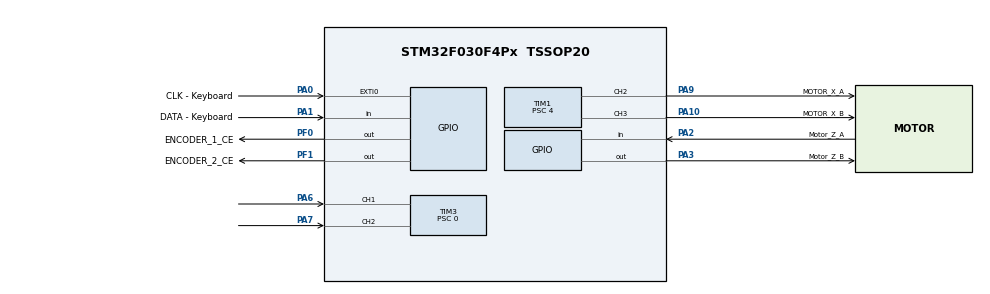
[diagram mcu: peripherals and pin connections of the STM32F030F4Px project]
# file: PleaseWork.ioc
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Mcu.Family=STM32F0
Mcu.Name=STM32F030F4Px
Mcu.Package=TSSOP20
NVIC.EXTI0_1_IRQn=true\:0\:0\:false\:false\:true\:true
PA0.GPIO_Label=CLK - Keyboard
PA0.Signal=GPXTI0
PA1.GPIO_Label=DATA - Keyboard
PA1.Signal=GPIO_Input
PA10.GPIO_Label=MOTOR_X_B
PA10.Signal=S_TIM1_CH3
PA13.Mode=Serial_Wire
PA13.Signal=SYS_SWDIO
PA14.Mode=Serial_Wire
PA14.Signal=SYS_SWCLK
PA2.GPIO_Label=Motor_Z_A
PA2.Signal=GPIO_Input
PA3.GPIO_Label=Motor_Z_B
PA3.Signal=GPIO_Output
PA6.Signal=S_TIM3_CH1
PA7.Signal=S_TIM3_CH2
PA9.GPIO_Label=MOTOR_X_A
PA9.Signal=S_TIM1_CH2
PF0-OSC_IN.GPIO_Label=ENCODER_1_CE
PF0-OSC_IN.Signal=GPIO_Output
PF1-OSC_OUT.GPIO_Label=ENCODER_2_CE
PF1-OSC_OUT.Signal=GPIO_Output
ProjectManager.HeapSize=0x200
ProjectManager.StackSize=0x400
ProjectManager.TargetToolchain=TrueSTUDIO
SH.S_TIM1_CH2.0=TIM1_CH2,PWM Generation2 CH2
SH.S_TIM1_CH3.0=TIM1_CH3,PWM Generation3 CH3
SH.S_TIM3_CH1.0=TIM3_CH1,Encoder_Interface
SH.S_TIM3_CH2.0=TIM3_CH2,Encoder_Interface
TIM1.Channel-PWM\ Generation2\ CH2=TIM_CHANNEL_2
TIM1.Channel-PWM\ Generation3\ CH3=TIM_CHANNEL_3
TIM1.Period=255
TIM1.Prescaler=4
TIM14.Period=255
TIM14.Prescaler=4
TIM3.EncoderMode=TIM_ENCODERMODE_TI2
TIM3.IC1Filter=10
TIM3.IC1Polarity=TIM_ICPOLARITY_FALLING
TIM3.IC2Filter=10
TIM3.IC2Polarity=TIM_ICPOLARITY_FALLING
TIM3.Period=65535
TIM3.Prescaler=0
VP_TIM14_VS_ClockSourceINT.Mode=Enable_Timer
board=custom

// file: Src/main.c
/**
 ******************************************************************************
 * @file           : main.c
 * @brief          : Main program body
 ******************************************************************************
 ** This notice applies to any and all portions of this file
 * that are not between comment pairs USER CODE BEGIN and
 * USER CODE END. Other portions of this file, whether
 * inserted by the user or by software development tools
 * are owned by their respective copyright owners.
 *
 * COPYRIGHT(c) 2018 STMicroelectronics
 *
 * Redistribution and use in source and binary forms, with or without modification,
 * are permitted provided that the following conditions are met:
 *   1. Redistributions of source code must retain the above copyright notice,
 *      this list of conditions and the following disclaimer.
 *   2. Redistributions in binary form must reproduce the above copyright notice,
 *      this list of conditions and the following disclaimer in the documentation
 *      and/or other materials provided with the distribution.
 *   3. Neither the name of STMicroelectronics nor the names of its contributors
 *      may be used to endorse or promote products derived from this software
 *      without specific prior written permission.
 *
 * THIS SOFTWARE IS PROVIDED BY THE COPYRIGHT HOLDERS AND CONTRIBUTORS "AS IS"
 * AND ANY EXPRESS OR IMPLIED WARRANTIES, INCLUDING, BUT NOT LIMITED TO, THE
 * IMPLIED WARRANTIES OF MERCHANTABILITY AND FITNESS FOR A PARTICULAR PURPOSE ARE
 * DISCLAIMED. IN NO EVENT SHALL THE COPYRIGHT HOLDER OR CONTRIBUTORS BE LIABLE
 * FOR ANY DIRECT, INDIRECT, INCIDENTAL, SPECIAL, EXEMPLARY, OR CONSEQUENTIAL
 * DAMAGES (INCLUDING, BUT NOT LIMITED TO, PROCUREMENT OF SUBSTITUTE GOODS OR
 * SERVICES; LOSS OF USE, DATA, OR PROFITS; OR BUSINESS INTERRUPTION) HOWEVER
 * CAUSED AND ON ANY THEORY OF LIABILITY, WHETHER IN CONTRACT, STRICT LIABILITY,
 * OR TORT (INCLUDING NEGLIGENCE OR OTHERWISE) ARISING IN ANY WAY OUT OF THE USE
 * OF THIS SOFTWARE, EVEN IF ADVISED OF THE POSSIBILITY OF SUCH DAMAGE.
 *
 ******************************************************************************
 */
#include "main.h"
#include "stm32f0xx_hal.h"
#include "tim.h"
#include "gpio.h"

/* USER CODE BEGIN Includes */
#include "PS2Keyboard.h"
#include "brailleMatrix.h"
#include "DCMotors.h"
/* USER CODE END Includes */

/* USER CODE BEGIN PV */
/* Private variables ---------------------------------------------------------*/
#define MAX_CARACTERES 5
#define MAX_LINHAS 27
#define POS_INI 0
#define POS_FIM 4000

char pressedEnter = 1;
char isEnd = 0;

Keyboard_TypeDef keyboard;

MotorControl_t motorX;
MotorControl_t motorY;

MotorControl_Simple_t motorZ;

unsigned char buffer_char[MAX_CARACTERES];
unsigned char buffer_braille[4];
/* USER CODE END PV */

void SystemClock_Config(void);

/* USER CODE BEGIN PFP */
/* Private function prototypes -----------------------------------------------*/
void interruption();
/* USER CODE END PFP */

/* USER CODE BEGIN 0 */
void interruption(){
	ps2interrupt(&keyboard);
}

/* USER CODE END 0 */

int main(void)
{

	/* MCU Configuration----------------------------------------------------------*/

	/* Reset of all peripherals, Initializes the Flash interface and the Systick. */
	HAL_Init();

	/* Configure the system clock */
	SystemClock_Config();

	/* Initialize all configured peripherals */
	MX_GPIO_Init();
	MX_TIM3_Init();
	MX_TIM1_Init();
	MX_TIM14_Init();
	/* USER CODE BEGIN 2 */
	HAL_TIM_Encoder_Start(&htim3, TIM_CHANNEL_ALL);

	motorBegin(&motorX, ENCODER_1_CE_GPIO_Port, ENCODER_1_CE_Pin, htim1, htim1, TIM_CHANNEL_2,  TIM_CHANNEL_3);
	//motorBegin(&motorY, ENCODER_2_CE_GPIO_Port, ENCODER_2_CE_Pin, htim1, htim1, TIM_CHANNEL_2,  TIM_CHANNEL_3);

	motorSimpleBegin(&motorZ, Motor_Z_A_GPIO_Port, Motor_Z_A_Pin, Motor_Z_B_GPIO_Port, Motor_Z_B_Pin);

	keyboardBegin(&keyboard, PS2_DATA_PORT, PS2_DATA_PIN, PS2_IQR_PORT, PS2_IQR_PIN);

	memset(buffer_braille, 0, sizeof(buffer_braille));
	/* USER CODE END 2 */

	/* Infinite loop */
	/* USER CODE BEGIN WHILE */
	while (1)
	{
		atualizarEixo(&motorX, motorX.setPoint + 100);
		HAL_Delay(1000);

		/* USER CODE END WHILE */

		/* USER CODE BEGIN 3 */
		/* Faz a leitura do teclado e envia ao buffer_char */
		//		while(1){
		//			if(keyboardAvailable(&keyboard)){
		//				HAL_GPIO_WritePin(GPIOA, GPIO_PIN_5, GPIO_PIN_SET);
		//				HAL_Delay(50);
		//				HAL_GPIO_WritePin(GPIOA, GPIO_PIN_5, GPIO_PIN_RESET);
		//				uint8_t c = keyboardRead(&keyboard);
		//				if(c == PS2_ENTER){
		//					pressedEnter = 1;
		//					break;
		//				}
		//
		//				feedBuffer(buffer_char, MAX_CARACTERES, c);
		//			}
		//		}
		//
		//		/* Programa leitura do teclado */
		//		if(pressedEnter){
		//
		//			for(int j=0;j<3;j++){
		//				//Imprime as linhas em braille
		//				if(j==1){
		//					//Linhas das matrizes
		//					for(unsigned short i=strlen((const char*)buffer_char)-1; i>=0; --i){
		//
		//						// Recebe os pontos da linha para o caractere atual
		//						fillLineWithBraille(buffer_braille, j,buffer_char[i]);
		//
		//						// Percorre os 4 bits, no máximo, para cada caractere
		//						for(int x = 3; x >=0; ++x){
		//
		//							// Passa para a próxima iteração se o não tem ponto para furar
		//							if(buffer_braille[x] == '\0'){
		//								continue;
		//							}else if(buffer_braille[x] == 1){
		//								//Furar
		//							}
		//
		//							// Decrementa posição do eixo x, espaçamento entre colunas
		//							atualizarEixo(&motorX, motorX.setPoint - DELTA_COL_LIN);
		//						}
		//
		//						// Decrementa posição do eixo x, espaçamento entre char na horizontal
		//						atualizarEixo(&motorX, motorX.setPoint - DELTA_CHAR_H);
		//
		//					}
		//
		//					// Decrementa posição do eixo y, espaçamento entre linhas
		//					atualizarEixo(&motorY, motorY.setPoint + DELTA_COL_LIN);
		//				}else{
		//					unsigned short i;
		//					//Linhas das matrizes
		//					for(i=0; i<strlen((const char*)buffer_char); i++){
		//
		//						//Recebe os pontos da linha para o caractere atual
		//						fillLineWithBraille(buffer_braille, j,buffer_char[i]);
		//
		//						//Percorre os 4 bits, no máximo, para cada caractere
		//						for(int x = 0; x < 4; ++x){
		//
		//							if(buffer_braille[x] == '\0'){
		//								break;
		//							}else if(buffer_braille[x] == 1){
		//								motorForward(&motorZ, PIERCE_TIME);
		//								motorBackward(&motorZ, PIERCE_TIME);
		//							}
		//
		//							// Incrementa posição do eixo x, espaçamento entre colunas
		//							atualizarEixo(&motorX, motorX.setPoint + DELTA_COL_LIN);
		//						}
		//
		//						// Incrementa posição do eixo x, espaçamento entre char na horizontal
		//						atualizarEixo(&motorX, motorX.setPoint + DELTA_CHAR_H);
		//
		//					}
		//
		//					// Incrementa posição do eixo y, espaçamento entre linhas
		//					atualizarEixo(&motorY, motorY.setPoint + DELTA_COL_LIN);
		//				}
		//			}
		//
		//			// Incrementa posição do eixo y, espaçamento entre char na vertical
		//			atualizarEixo(&motorY, motorY.setPoint + DELTA_CHAR_V - DELTA_COL_LIN);
		//
		//			// Seta posição eixo x para inicial
		//			atualizarEixo(&motorX, POS_INI);
		//
		//			pressedEnter = 0;
		//		}
		//		clearBuffer(buffer_char);

	}
	/* USER CODE END 3 */

}

void SystemClock_Config(void)
{

	RCC_OscInitTypeDef RCC_OscInitStruct;
	RCC_ClkInitTypeDef RCC_ClkInitStruct;

	/**Initializes the CPU, AHB and APB busses clocks
	 */
	RCC_OscInitStruct.OscillatorType = RCC_OSCILLATORTYPE_HSI;
	RCC_OscInitStruct.HSIState = RCC_HSI_ON;
	RCC_OscInitStruct.HSICalibrationValue = 16;
	RCC_OscInitStruct.PLL.PLLState = RCC_PLL_NONE;
	if (HAL_RCC_OscConfig(&RCC_OscInitStruct) != HAL_OK)
	{
		_Error_Handler(__FILE__, __LINE__);
	}

	/**Initializes the CPU, AHB and APB busses clocks
	 */
	RCC_ClkInitStruct.ClockType = RCC_CLOCKTYPE_HCLK|RCC_CLOCKTYPE_SYSCLK
			|RCC_CLOCKTYPE_PCLK1;
	RCC_ClkInitStruct.SYSCLKSource = RCC_SYSCLKSOURCE_HSI;
	RCC_ClkInitStruct.AHBCLKDivider = RCC_SYSCLK_DIV1;
	RCC_ClkInitStruct.APB1CLKDivider = RCC_HCLK_DIV1;

	if (HAL_RCC_ClockConfig(&RCC_ClkInitStruct, FLASH_LATENCY_0) != HAL_OK)
	{
		_Error_Handler(__FILE__, __LINE__);
	}

	/**Configure the Systick interrupt time
	 */
	HAL_SYSTICK_Config(HAL_RCC_GetHCLKFreq()/1000);

	/**Configure the Systick
	 */
	HAL_SYSTICK_CLKSourceConfig(SYSTICK_CLKSOURCE_HCLK);

	/* SysTick_IRQn interrupt configuration */
	HAL_NVIC_SetPriority(SysTick_IRQn, 0, 0);
}

void _Error_Handler(char *file, int line)
{
	while(1)
	{
	}
}

/************************ (C) COPYRIGHT STMicroelectronics *****END OF FILE****/
